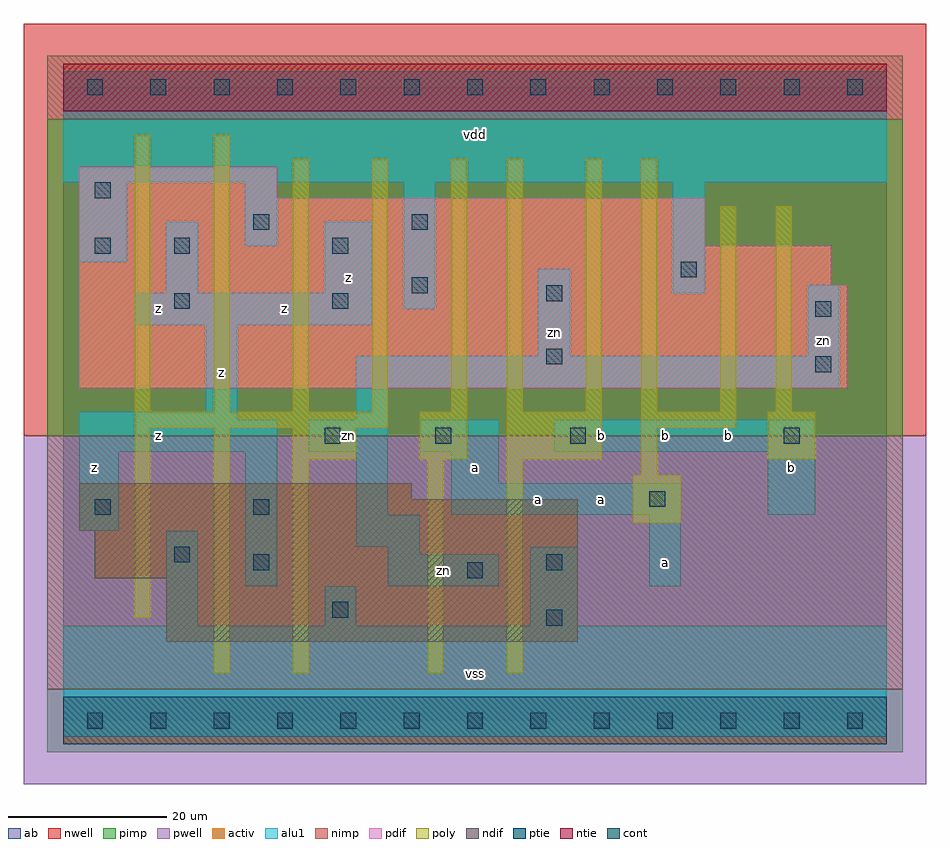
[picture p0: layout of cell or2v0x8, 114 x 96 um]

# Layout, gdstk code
import gdstk
lib = gdstk.Library(unit=1e-6, precision=1e-09)
def R(c, l, rs):  # rectangles x0, y0, x1, y1
    for r in rs: c.add(gdstk.rectangle(r[:2], r[2:], *l))
def A(c, l, x, y, w, h, nx, ny, dx, dy):  # array of equal rectangles
    R(c, l, [(x+i*dx, y+j*dy, x+i*dx+w, y+j*dy+h) for i in range(nx) for j in range(ny)])
ndif = (3, 0)
pdif = (4, 0)
ntie = (5, 0)
ptie = (6, 0)
cont = (25, 0)
pwell = (41, 0)
nwell = (42, 0)
activ = (43, 0)
pimp = (44, 0)
nimp = (45, 0)
poly = (46, 0)
alu1 = (49, 0)
ab = (63, 0)

or2v0x8 = lib.new_cell('or2v0x8')
R(or2v0x8, ndif, [(13,10,65,18), (4,18,65,24), (2,24,65,28), (2,28,44,30)])
R(or2v0x8, pdif, [(2,42,99,55), (2,55,97,60), (2,60,81,66), (2,66,27,70)])
R(or2v0x8, ntie, [(0,77,104,83)])
R(or2v0x8, ptie, [(0,-3,104,3)])
A(or2v0x8, cont, 3, -1, 2, 2, 13, 2, 8, 80)
R(or2v0x8, cont, [(61,12,63,14), (34,13,36,15), (51,18,53,20), (24,19,26,21), (61,19,63,21), (14,20,16,22), (4,26,6,28), (24,26,26,28), (74,27,76,29), (33,35,35,37), (47,35,49,37), (64,35,66,37), (91,35,93,37), (95,44,97,46), (61,45,63,47), (95,51,97,53), (14,52,16,54), (34,52,36,54), (61,53,63,55), (44,54,46,56), (78,56,80,58), (4,59,6,61), (14,59,16,61), (34,59,36,61), (24,62,26,64), (44,62,46,64), (4,66,6,68)])
R(or2v0x8, pwell, [(-5,-8,109,36)])
R(or2v0x8, nwell, [(-5,36,109,88)])
R(or2v0x8, activ, [(0,-3,104,3), (13,10,65,18), (4,18,65,24), (2,24,65,28), (2,28,44,30), (2,42,99,55), (2,55,97,60), (2,60,81,66), (2,66,27,70), (0,77,104,83)])
R(or2v0x8, pimp, [(-2,-4,106,4), (-2,36,106,76)])
R(or2v0x8, nimp, [(-2,4,106,36), (-2,76,106,84)])
A(or2v0x8, poly, 29, 39, 2, 32, 3, 1, 10, 0)
R(or2v0x8, poly, [(19,6,21,37), (29,6,31,33), (46,6,48,33), (56,6,58,33), (9,13,11,37), (72,25,78,31), (73,31,75,37), (29,33,37,37), (45,33,51,39), (56,33,68,39), (89,33,95,39), (9,37,41,39), (73,37,85,39), (9,39,11,74), (19,39,21,74), (56,39,58,71), (66,39,68,71), (73,39,75,71), (83,39,85,65), (90,39,92,65)])
R(or2v0x8, alu1, [(0,-2,104,12), (13,12,17,24), (33,12,37,17), (59,12,65,22), (23,17,27,34), (41,17,55,21), (74,17,78,26), (41,21,45,22), (37,22,45,26), (2,24,7,34), (37,26,41,34), (49,26,78,30), (89,26,95,34), (49,30,55,34), (2,34,27,38), (31,34,41,38), (45,34,55,38), (62,34,95,38), (2,38,22,39), (37,38,41,42), (18,39,22,50), (37,42,98,46), (60,46,64,57), (94,46,98,55), (9,50,39,54), (43,52,47,68), (13,54,17,63), (33,54,39,63), (77,54,81,68), (2,58,8,68), (23,60,27,68), (0,68,104,82)])
R(or2v0x8, ab, [(0,0,104,80)])
or2v0x8.add(gdstk.Label('zn', (36,36), layer=49, texttype=0))
or2v0x8.add(gdstk.Label('zn', (48,19), layer=49, texttype=0))
or2v0x8.add(gdstk.Label('zn', (62,49), layer=49, texttype=0))
or2v0x8.add(gdstk.Label('zn', (96,48), layer=49, texttype=0))
or2v0x8.add(gdstk.Label('z', (12,36), layer=49, texttype=0))
or2v0x8.add(gdstk.Label('z', (4,32), layer=49, texttype=0))
or2v0x8.add(gdstk.Label('z', (20,44), layer=49, texttype=0))
or2v0x8.add(gdstk.Label('z', (12,52), layer=49, texttype=0))
or2v0x8.add(gdstk.Label('z', (28,52), layer=49, texttype=0))
or2v0x8.add(gdstk.Label('z', (36,56), layer=49, texttype=0))
or2v0x8.add(gdstk.Label('vss', (52,6), layer=49, texttype=0))
or2v0x8.add(gdstk.Label('a', (76,20), layer=49, texttype=0))
or2v0x8.add(gdstk.Label('a', (52,32), layer=49, texttype=0))
or2v0x8.add(gdstk.Label('b', (68,36), layer=49, texttype=0))
or2v0x8.add(gdstk.Label('b', (76,36), layer=49, texttype=0))
or2v0x8.add(gdstk.Label('a', (68,28), layer=49, texttype=0))
or2v0x8.add(gdstk.Label('a', (60,28), layer=49, texttype=0))
or2v0x8.add(gdstk.Label('vdd', (52,74), layer=49, texttype=0))
or2v0x8.add(gdstk.Label('b', (84,36), layer=49, texttype=0))
or2v0x8.add(gdstk.Label('b', (92,32), layer=49, texttype=0))

lib.write_gds('or2v0x8.gds')
